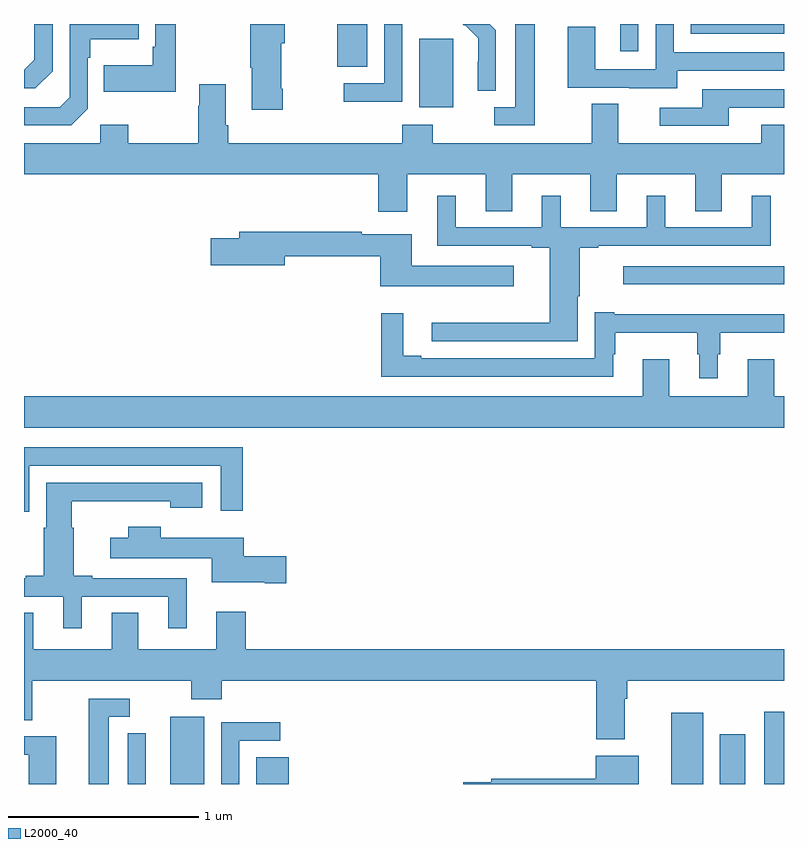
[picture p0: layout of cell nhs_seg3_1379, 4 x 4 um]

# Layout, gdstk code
import gdstk
lib = gdstk.Library(unit=1e-6, precision=1e-09)
def R(c, l, rs):  # rectangles x0, y0, x1, y1
    for r in rs: c.add(gdstk.rectangle(r[:2], r[2:], *l))
def P(c, l, *ps):  # polygons
    for p in ps: c.add(gdstk.Polygon(p, *l))
L2000_40 = (2000, 40)

nhs_seg3_1379 = lib.new_cell('nhs_seg3_1379')
R(nhs_seg3_1379, L2000_40, [(183.77,672.4,183.949,672.754), (184.223,672.4,184.394,672.542), (186.407,672.4,186.574,672.775), (186.662,672.4,186.796,672.661), (186.896,672.4,187,672.781), (186.153,675.029,187,675.126), (185.081,675.962,185.26,676.323), (184.649,676.174,184.807,676.4), (186.137,676.257,186.234,676.4), (186.51,676.35,187,676.4)])
P(nhs_seg3_1379, L2000_40, [(183.336,675.954),(183.336,676.223),(183.349,676.223),(183.349,676.319),(183.605,676.319),(183.605,676.4),(183.24,676.4),(183.24,676.014),(183.189,675.963),(183,675.963),(183,675.867),(183.249,675.867)],
  [(186.439,676.155),(187,676.155),(187,676.251),(186.42,676.251),(186.42,676.4),(186.324,676.4),(186.324,676.161),(186.006,676.161),(186.006,676.385),(185.861,676.385),(185.861,676.065),(186.185,676.065),(186.185,676.061),(186.439,676.061)],
  [(185.689,676.4),(185.585,676.4),(185.585,675.963),(185.475,675.963),(185.475,675.867),(185.689,675.867)],
  [(183.15,676.152),(183.15,676.4),(183.054,676.4),(183.054,676.212),(183.001,676.159),(183,676.159),(183,676.062),(183.06,676.062)],
  [(184.362,676.06),(184.354,676.06),(184.354,676.299),(184.372,676.299),(184.372,676.4),(184.199,676.4),(184.199,676.399),(184.192,676.399),(184.192,676.171),(184.199,676.171),(184.199,675.948),(184.362,675.948)],
  [(183.799,676.4),(183.69,676.4),(183.69,676.279),(183.678,676.279),(183.678,676.183),(183.421,676.183),(183.421,676.043),(183.799,676.043)],
  [(184.992,676.4),(184.896,676.4),(184.896,676.089),(184.683,676.089),(184.683,675.991),(184.992,675.991)],
  [(185.484,676.366),(185.45,676.4),(185.308,676.4),(185.316,676.392),(185.319,676.395),(185.39,676.325),(185.39,676.202),(185.388,676.202),(185.388,676.048),(185.484,676.048)],
  [(185.017,675.608),(185.429,675.608),(185.429,675.415),(185.569,675.415),(185.569,675.608),(185.981,675.608),(185.981,675.415),(186.121,675.415),(186.121,675.608),(186.533,675.608),(186.533,675.415),(186.673,675.415),(186.673,675.608),(187,675.608),(187,675.871),(186.881,675.871),(186.881,675.772),(186.127,675.772),(186.127,675.98),(185.987,675.98),(185.987,675.772),(185.151,675.772),(185.151,675.871),(184.991,675.871),(184.991,675.772),(184.076,675.772),(184.076,675.868),(184.063,675.868),(184.063,676.084),(183.923,676.084),(183.923,675.971),(183.916,675.971),(183.916,675.772),(183.549,675.772),(183.549,675.871),(183.402,675.871),(183.402,675.772),(183,675.772),(183,675.608),(184.865,675.608),(184.865,675.411),(185.017,675.411)],
  [(186.709,675.96),(187,675.96),(187,676.056),(186.569,676.056),(186.569,675.96),(186.345,675.96),(186.345,675.864),(186.709,675.864)],
  [(185.914,674.967),(185.926,674.967),(185.926,675.222),(186.022,675.222),(186.022,675.234),(186.929,675.234),(186.929,675.496),(186.83,675.496),(186.83,675.33),(186.376,675.33),(186.376,675.496),(186.278,675.496),(186.278,675.33),(185.824,675.33),(185.824,675.496),(185.726,675.496),(185.726,675.33),(185.272,675.33),(185.272,675.496),(185.174,675.496),(185.174,675.234),(185.672,675.234),(185.672,675.222),(185.768,675.222),(185.768,674.828),(185.145,674.828),(185.145,674.73),(185.914,674.73)],
  [(185.578,675.127),(185.041,675.127),(185.041,675.294),(184.778,675.294),(184.778,675.307),(184.133,675.307),(184.133,675.273),(183.984,675.273),(183.984,675.131),(184.372,675.131),(184.372,675.178),(184.874,675.178),(184.874,675.02),(185.578,675.02)],
  [(186.652,674.663),(186.664,674.663),(186.664,674.774),(187,674.774),(187,674.872),(186.106,674.872),(186.106,674.884),(186.003,674.884),(186.003,674.64),(185.092,674.64),(185.092,674.653),(184.996,674.653),(184.996,674.878),(184.879,674.878),(184.879,674.544),(186.1,674.544),(186.1,674.663),(186.112,674.663),(186.112,674.774),(186.543,674.774),(186.543,674.663),(186.554,674.663),(186.554,674.535),(186.652,674.535)],
  [(187,674.44),(186.949,674.44),(186.949,674.635),(186.809,674.635),(186.809,674.44),(186.397,674.44),(186.397,674.635),(186.257,674.635),(186.257,674.44),(183,674.44),(183,674.276),(187,674.276)],
  [(183.027,674.076),(184.035,674.076),(184.035,673.839),(184.151,673.839),(184.151,674.172),(183,674.172),(183,673.833),(183.027,673.833)],
  [(183.304,673.386),(183.758,673.386),(183.758,673.221),(183.856,673.221),(183.856,673.482),(183.358,673.482),(183.358,673.495),(183.262,673.495),(183.262,673.749),(183.25,673.749),(183.25,673.889),(183.77,673.889),(183.77,673.853),(183.937,673.853),(183.937,673.986),(183.116,673.986),(183.116,673.749),(183.104,673.749),(183.104,673.495),(183.008,673.495),(183.008,673.482),(183,673.482),(183,673.386),(183.206,673.386),(183.206,673.221),(183.304,673.221)],
  [(184.381,673.598),(184.156,673.598),(184.156,673.696),(183.719,673.696),(183.719,673.753),(183.548,673.753),(183.548,673.696),(183.453,673.696),(183.453,673.589),(183.989,673.589),(183.989,673.463),(184.268,673.463),(184.268,673.456),(184.381,673.456)],
  [(186.163,672.848),(186.176,672.848),(186.176,672.944),(187,672.944),(187,673.108),(184.166,673.108),(184.166,673.306),(184.013,673.306),(184.013,673.108),(183.601,673.108),(183.601,673.301),(183.461,673.301),(183.461,673.108),(183.049,673.108),(183.049,673.301),(183,673.301),(183,672.736),(183.043,672.736),(183.043,672.944),(183.88,672.944),(183.88,672.845),(184.04,672.845),(184.04,672.944),(186.011,672.944),(186.011,672.635),(186.163,672.635)],
  [(183.445,672.753),(183.556,672.753),(183.556,672.849),(183.341,672.849),(183.341,672.4),(183.445,672.4)],
  [(184.134,672.627),(184.348,672.627),(184.348,672.726),(184.038,672.726),(184.038,672.4),(184.134,672.4)],
  [(183.641,672.514),(183.642,672.514),(183.642,672.668),(183.546,672.668),(183.546,672.4),(183.641,672.4)],
  [(183.169,672.651),(183,672.651),(183,672.555),(183.024,672.555),(183.024,672.4),(183.169,672.4)],
  [(186.235,672.55),(186.008,672.55),(186.008,672.428),(185.458,672.428),(185.458,672.408),(185.312,672.408),(185.312,672.4),(186.235,672.4)])

lib.write_gds('nhs_seg3_1379.gds')
